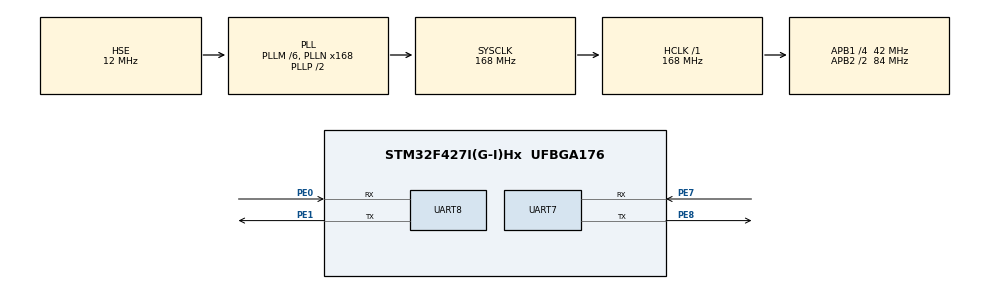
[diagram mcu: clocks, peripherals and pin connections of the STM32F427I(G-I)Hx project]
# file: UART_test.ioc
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Mcu.Family=STM32F4
Mcu.Name=STM32F427I(G-I)Hx
Mcu.Package=UFBGA176
NVIC.PriorityGroup=NVIC_PRIORITYGROUP_4
NVIC.UART7_IRQn=true\:0\:0\:false\:false\:true\:true\:true\:true
PE0.Mode=Asynchronous
PE0.Signal=UART8_RX
PE1.Mode=Asynchronous
PE1.Signal=UART8_TX
PE7.Mode=Asynchronous
PE7.Signal=UART7_RX
PE8.Mode=Asynchronous
PE8.Signal=UART7_TX
PH0/OSC_IN.Mode=HSE-External-Oscillator
PH0/OSC_IN.Signal=RCC_OSC_IN
PH1/OSC_OUT.Mode=HSE-External-Oscillator
PH1/OSC_OUT.Signal=RCC_OSC_OUT
ProjectManager.HeapSize=0x200
ProjectManager.StackSize=0x400
ProjectManager.TargetToolchain=MDK-ARM V5.32
RCC.48MHZClocksFreq_Value=84000000
RCC.AHBFreq_Value=168000000
RCC.APB1CLKDivider=RCC_HCLK_DIV4
RCC.APB1Freq_Value=42000000
RCC.APB1TimFreq_Value=84000000
RCC.APB2CLKDivider=RCC_HCLK_DIV2
RCC.APB2Freq_Value=84000000
RCC.APB2TimFreq_Value=168000000
RCC.CortexFreq_Value=168000000
RCC.HCLKFreq_Value=168000000
RCC.HSE_VALUE=12000000
RCC.HSI_VALUE=16000000
RCC.LSE_VALUE=32768
RCC.PLLM=6
RCC.PLLN=168
RCC.PLLSourceVirtual=RCC_PLLSOURCE_HSE
RCC.SYSCLKFreq_VALUE=168000000
RCC.SYSCLKSource=RCC_SYSCLKSOURCE_PLLCLK
RCC.VCOOutputFreq_Value=336000000
UART7.VirtualMode=Asynchronous
UART8.VirtualMode=Asynchronous
board=custom

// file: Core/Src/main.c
/* USER CODE BEGIN Header */
/**
  ******************************************************************************
  * @file           : main.c
  * @brief          : Main program body
  ******************************************************************************
  * @attention
  *
  * Copyright (c) 2025 STMicroelectronics.
  * All rights reserved.
  *
  * This software is licensed under terms that can be found in the LICENSE file
  * in the root directory of this software component.
  * If no LICENSE file comes with this software, it is provided AS-IS.
  *
  ******************************************************************************
  */
/* USER CODE END Header */
#include "main.h"
#include "usart.h"
#include "gpio.h"
#include "string.h"

/* USER CODE BEGIN PD */
#define PACKET_SIZE 12 // 包含起始符、数据（两个浮点数）、校验和结束符

uint8_t tail[4] = {0x00, 0x00, 0x80, 0x7f}; /* 串口发送帧尾 */
uint8_t rx_buff;
uint8_t rx_buffer[256];
uint8_t aRxBuffer;
uint8_t uart7_rx_cnt = 0;
uint8_t rx_index = 0;
float rx_data[2];

/* USER CODE END PD */

void SystemClock_Config(void);
void CopeSerial2Data(uint8_t ucData);

int main(void)
{

  /* MCU Configuration--------------------------------------------------------*/

  /* Reset of all peripherals, Initializes the Flash interface and the Systick. */
  HAL_Init();

  /* Configure the system clock */
  SystemClock_Config();

  /* Initialize all configured peripherals */
  MX_GPIO_Init();
  MX_UART7_Init();
  MX_UART8_Init();
  /* USER CODE BEGIN 2 */

	HAL_UART_Receive_IT(&huart7, (uint8_t *)&aRxBuffer, 1);
  /* USER CODE END 2 */

  /* Infinite loop */
  while (1)
  {
//	HAL_UART_Transmit(&huart8, (uint8_t *)&rx_buffer, uart7_rx_cnt, 20);
//	HAL_UART_Transmit(&huart8, (uint8_t *)tail, sizeof(uint8_t)*4, 10);
  }
}

void SystemClock_Config(void)
{
  RCC_OscInitTypeDef RCC_OscInitStruct = {0};
  RCC_ClkInitTypeDef RCC_ClkInitStruct = {0};

  /** Configure the main internal regulator output voltage
  */
  __HAL_RCC_PWR_CLK_ENABLE();
  __HAL_PWR_VOLTAGESCALING_CONFIG(PWR_REGULATOR_VOLTAGE_SCALE1);

  /** Initializes the RCC Oscillators according to the specified parameters
  * in the RCC_OscInitTypeDef structure.
  */
  RCC_OscInitStruct.OscillatorType = RCC_OSCILLATORTYPE_HSE;
  RCC_OscInitStruct.HSEState = RCC_HSE_ON;
  RCC_OscInitStruct.PLL.PLLState = RCC_PLL_ON;
  RCC_OscInitStruct.PLL.PLLSource = RCC_PLLSOURCE_HSE;
  RCC_OscInitStruct.PLL.PLLM = 6;
  RCC_OscInitStruct.PLL.PLLN = 168;
  RCC_OscInitStruct.PLL.PLLP = RCC_PLLP_DIV2;
  RCC_OscInitStruct.PLL.PLLQ = 4;
  if (HAL_RCC_OscConfig(&RCC_OscInitStruct) != HAL_OK)
  {
    Error_Handler();
  }

  /** Initializes the CPU, AHB and APB buses clocks
  */
  RCC_ClkInitStruct.ClockType = RCC_CLOCKTYPE_HCLK|RCC_CLOCKTYPE_SYSCLK
                              |RCC_CLOCKTYPE_PCLK1|RCC_CLOCKTYPE_PCLK2;
  RCC_ClkInitStruct.SYSCLKSource = RCC_SYSCLKSOURCE_PLLCLK;
  RCC_ClkInitStruct.AHBCLKDivider = RCC_SYSCLK_DIV1;
  RCC_ClkInitStruct.APB1CLKDivider = RCC_HCLK_DIV4;
  RCC_ClkInitStruct.APB2CLKDivider = RCC_HCLK_DIV2;

  if (HAL_RCC_ClockConfig(&RCC_ClkInitStruct, FLASH_LATENCY_5) != HAL_OK)
  {
    Error_Handler();
  }
}

/* USER CODE BEGIN 4 */
void HAL_UART_RxCpltCallback(UART_HandleTypeDef *huart)
{
    if (huart->Instance == UART7) {
//		CopeSerial2Data(rx_buff);
//		HAL_UART_Receive_IT(&huart7, &rx_buff, 1);
//    }
	if(uart7_rx_cnt >= 255)
	{
		uart7_rx_cnt = 0;
		memset(rx_buffer, 0x00, sizeof(rx_buffer));
	}
	else
	{
		rx_buffer[uart7_rx_cnt++] = aRxBuffer;

		if((rx_buffer[uart7_rx_cnt-11] == 0xAA) && (rx_buffer[uart7_rx_cnt-1] == 0x55))
		{
			HAL_UART_Transmit(&huart8, (uint8_t *)&rx_buffer, uart7_rx_cnt, 20);
			HAL_UART_Transmit(&huart8, (uint8_t *)tail, sizeof(uint8_t)*4, 10);
			while(HAL_UART_GetState(&huart8) == HAL_UART_STATE_BUSY_TX);
			uart7_rx_cnt = 0;
			memset(rx_buffer, 0x00, sizeof(rx_buffer));
		}
	}

	HAL_UART_Receive_IT(&huart7, (uint8_t *)&aRxBuffer, 1);

	}

}

/* USER CODE END 4 */

void Error_Handler(void)
{
  __disable_irq();
  while (1)
  {
  }
}
